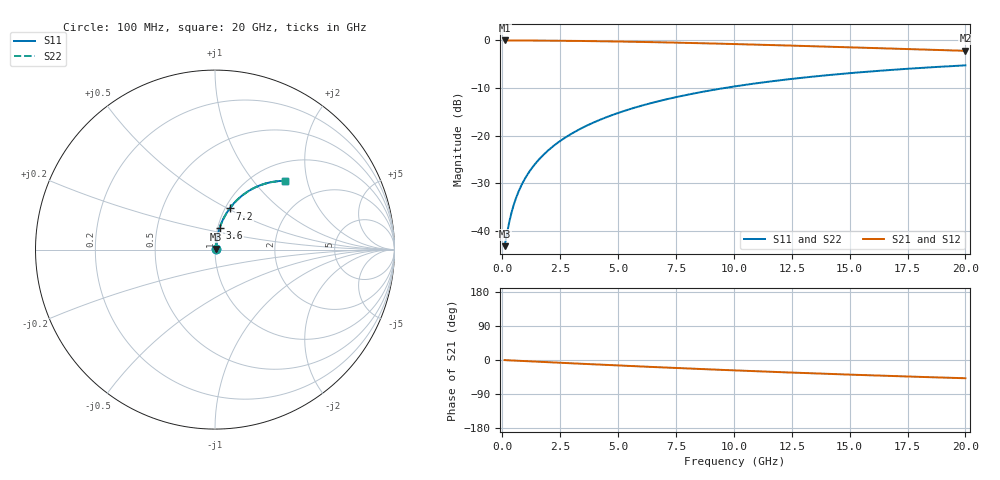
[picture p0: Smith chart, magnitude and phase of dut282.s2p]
! Touchstone file exported from HFSS 2024.1.0
!  File:  C:/UserFiles/LocalFiles/RDL_TSV_Batchsim/temp_RDL_top_282_1778690132.aedt
!  Generated:  12:37:54 AM May 14, 2026
!  Design:  RDL_top
!  Project:  temp_RDL_top_282_1778690132
!  Setup:  Setup1
!  Solution:  Sweep
! Variables:
!  dtsv = 10.80580581um
!  hbump = 3um
!  htsv = 75.77um
!  ldown = 100um
!  lrdl = 603.69um
!  p = 40
!  p1 = 54.17um
!  rhole = 1um
!  t = 450um
!  tdown = 3.915915916um
!  trdl = 3.35um
!  wdown = 15.38538539um
!  wrdl = 10.78um
# GHz S MA R 50.000000
! Terminal data exported
! Port[1] = Box2_T1
! Port[2] = Box2_T2
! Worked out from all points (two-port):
!   200 points, 100 MHz to 20 GHz, reference 50 ohm
!   highest |S21| = -0.05 dB at 100 MHz (marker M1); lowest = -2.2 dB at 20 GHz (marker M2)
!   |S21| within 3 dB of the highest: start of sweep to end of sweep
!   lowest |S11| = -43.2 dB at 100 MHz (marker M3), VSWR 1.01, Z = 50.6 + j0.366 ohm
!   |S11| at or under -10 dB: start of sweep to 9.62 GHz
!   |S22| runs from -43.2 to -5.3 dB; largest |S21 - S12| = 2.6e-15
!   S11 on the Smith chart (normalised r, x): 100 MHz: 1.01, +0.01; 3.6 GHz: 1.02, +0.26; 7.2 GHz: 1.05, +0.51; 20 GHz: 1.35, +1.47
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0.1  0.006949 31.3  0.9941 -0.3  0.9941 -0.3  0.006949 31.3
! Gamma 0 0 0 0
! Port Impedance 50 0 50 0
0.3  0.01243 60.2  0.9939 -0.9  0.9939 -0.9  0.01243 60.2
0.4  0.01569 66.0  0.9937 -1.2  0.9937 -1.2  0.01569 66.0
0.5  0.01904 69.7  0.9935 -1.5  0.9935 -1.5  0.01904 69.7
0.6  0.02243 72.2  0.9933 -1.8  0.9933 -1.8  0.02243 72.2
0.8  0.02927 75.3  0.9929 -2.4  0.9929 -2.4  0.02927 75.3
1.1  0.03959 77.7  0.9922 -3.2  0.9922 -3.2  0.03959 77.7
1.5  0.0534 79.0  0.991 -4.4  0.991 -4.4  0.0534 79.0
1.8  0.06377 79.4  0.99 -5.3  0.99 -5.3  0.06377 79.4
2.1  0.07414 79.4  0.9888 -6.2  0.9888 -6.2  0.07414 79.4
2.7  0.09483 79.1  0.9859 -7.9  0.9859 -7.9  0.09483 79.0
3.5  0.1223 77.9  0.9811 -10.2  0.9811 -10.2  0.1223 77.9
3.6  0.1257 77.8  0.9805 -10.5  0.9805 -10.5  0.1257 77.8
4.3  0.1494 76.5  0.9753 -12.4  0.9753 -12.4  0.1494 76.5
5  0.1728 75.1  0.9694 -14.4  0.9694 -14.4  0.1728 75.1
6.8  0.2312 71.2  0.9513 -19.2  0.9513 -19.2  0.2312 71.2
7.2  0.2438 70.3  0.9469 -20.3  0.9469 -20.3  0.2438 70.3
8.6  0.2865 67.2  0.9301 -23.9  0.9301 -23.9  0.2865 67.2
10.1  0.3298 63.9  0.9107 -27.6  0.9107 -27.6  0.3298 63.9
13.4  0.4151 56.9  0.8652 -35.2  0.8652 -35.2  0.415 56.9
16.7  0.4866 50.5  0.8188 -42.0  0.8188 -42.0  0.4865 50.4
20  0.5451 44.6  0.7743 -48.1  0.7743 -48.1  0.545 44.6
